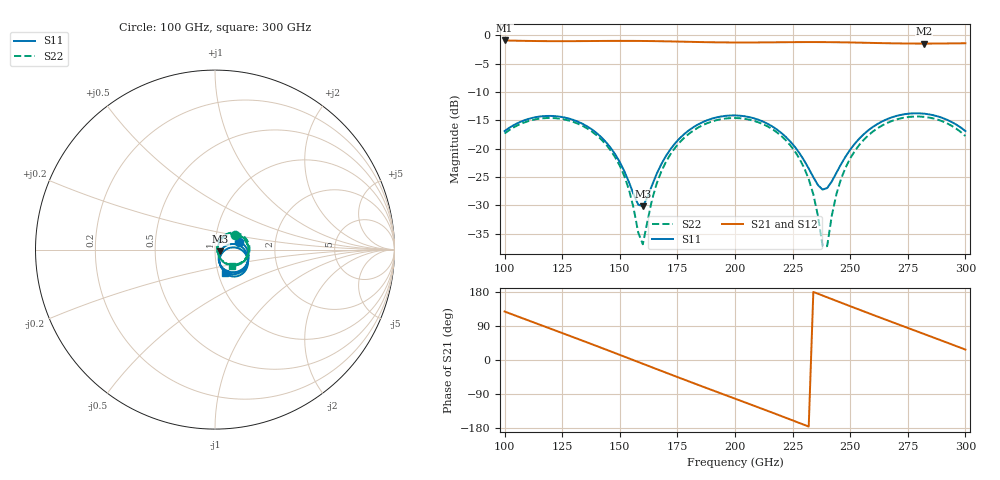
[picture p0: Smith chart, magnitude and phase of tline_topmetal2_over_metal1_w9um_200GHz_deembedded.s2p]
! Created with skrf 2.0.1 (http://scikit-rf.org).
# GHz S DB R 50.0
!freq dBS11 angS11 dBS21 angS21 dBS12 angS12 dBS22 angS22
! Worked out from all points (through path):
!   101 points, 100 GHz to 300 GHz, reference 50 ohm
!   highest |S21| = -0.88 dB at 100 GHz (marker M1); lowest = -1.4 dB at 282 GHz (marker M2)
!   group delay of S21, straight-line fit = 6.41 ps
!   lowest |S11| = -30.1 dB at 160 GHz (marker M3), VSWR 1.06, Z = 53.1 - j0.947 ohm
!   |S11| at or under -10 dB: start of sweep to end of sweep
!   |S22| runs from -37.2 to -14.3 dB; largest |S21 - S12| = 1.5e-13
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100  -16.87 18.0  -0.88 127.9  -0.88 127.9  -17.29 35.7
116  -14.27 -13.8  -0.99 91.5  -0.99 91.5  -14.64 4.8
134  -15.62 -49.6  -0.99 50.6  -0.99 50.6  -15.99 -30.9
150  -22.35 -71.6  -0.95 13.5  -0.95 13.5  -23.00 -58.4
154  -25.91 -66.9  -0.95 4.1  -0.95 4.1  -27.25 -59.7
158  -29.87 -40.5  -0.96 -5.3  -0.96 -5.3  -34.80 -36.9
160  -30.12 -16.6  -0.97 -10.0  -0.97 -10.0  -36.85 11.5
164  -26.43 13.8  -0.99 -19.3  -0.99 -19.3  -28.96 56.8
168  -22.72 20.2  -1.01 -28.7  -1.01 -28.7  -24.01 58.4
184  -15.69 0.1  -1.15 -65.7  -1.15 -65.7  -16.25 32.0
200  -14.11 -30.0  -1.23 -102.0  -1.23 -102.0  -14.57 -0.2
210  -14.85 -48.5  -1.23 -124.7  -1.23 -124.7  -15.30 -20.6
222  -17.88 -67.2  -1.19 -152.4  -1.19 -152.4  -18.47 -44.5
230  -22.05 -70.7  -1.16 -171.0  -1.16 -171.0  -23.35 -57.7
234  -25.01 -61.9  -1.16 179.6  -1.16 179.6  -28.04 -59.4
238  -27.20 -36.6  -1.17 170.2  -1.17 170.2  -37.15 -28.9
240  -26.93 -20.4  -1.17 165.5  -1.17 165.5  -37.19 33.6
244  -24.26 0.9  -1.19 156.1  -1.19 156.1  -28.03 64.5
250  -20.15 7.1  -1.23 142.0  -1.23 142.0  -21.70 60.1
268  -14.46 -16.1  -1.38 100.5  -1.38 100.5  -15.11 25.1
282  -13.80 -40.2  -1.43 68.7  -1.43 68.7  -14.36 -4.6
300  -16.86 -66.1  -1.37 27.5  -1.37 27.5  -17.75 -43.8
